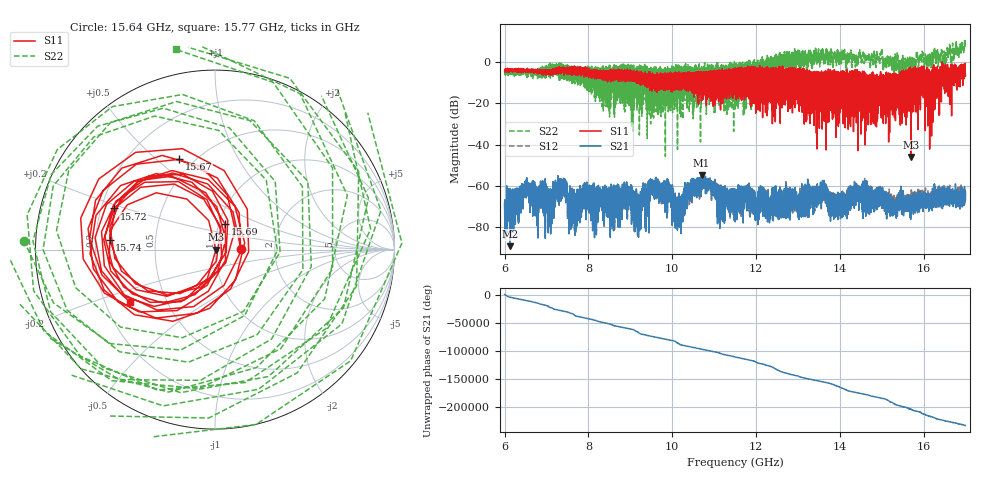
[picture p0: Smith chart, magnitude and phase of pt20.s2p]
#  HZ  S  RI  R  50.00
! Rohde & Schwarz Vector Network Analyzer
! Rohde-Schwarz,ZNA67-2Port,1332450062101215,3.01
! Created: UTC 10/26/2026, 5:49:48 PM
! freq[Hz]  re:S11  im:S11  re:S21  im:S21  re:S12  im:S12  re:S22  im:S22
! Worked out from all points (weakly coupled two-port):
!   11001 points, 6 GHz to 17 GHz, reference 50 ohm
!   highest |S21| = -54.59 dB at 10.7 GHz (marker M1); lowest = -89.1 dB at 6.127 GHz (marker M2)
!   lowest |S11| = -45.8 dB at 15.7 GHz (marker M3), VSWR 1.01, Z = 50.5 - j0.124 ohm
!   |S11| at or under -10 dB: 14.68672 GHz to 14.69204 GHz (5.317 MHz wide, 0.0362 % of centre); 14.69865 GHz to 14.70412 GHz (5.471 MHz wide, 0.0372 % of centre); 14.91986 GHz to 14.92668 GHz (6.825 MHz wide, 0.0457 % of centre) (the widest 3 of 647)
!   |S22| runs from -45.6 to 10.5 dB; largest |S21 - S12| = 0.0011
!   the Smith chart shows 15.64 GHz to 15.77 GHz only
!   S11 on the Smith chart (normalised r, x): 15.64 GHz: 1.34, +0.01; 15.67 GHz: 0.42, +0.59; 15.69 GHz: 1.07, +0.31; 15.72 GHz: 0.25, +0.18; 15.74 GHz: 0.26, +0.04; 15.77 GHz: 0.30, -0.26
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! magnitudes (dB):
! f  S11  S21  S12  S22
! 6 GHz  -4.4  -68.2  -68.4  -4.7
! 6.127 GHz  -4.2  -89.1  -85.8  -5.2
! 6.524 GHz  -4.3  -61.8  -61.9  -3.8
! 7.066 GHz  -3.9  -66.3  -65.6  -4.7
! 7.28 GHz  -4.0  -57.2  -57.4  -5.2
! 7.834 GHz  -4.2  -63.7  -63.0  -3.0
! 8.86 GHz  -6.1  -60.9  -60.8  -2.7
! 9.205 GHz  -7.7  -74.9  -73.7  -19.3
! 9.667 GHz  -6.8  -60.2  -60.1  -4.6
! 10.16 GHz  -12.8  -68.9  -69.7  -6.1
! 10.7 GHz  -10.0  -54.6  -54.8  -3.7
! 11.5 GHz  -3.0  -64.6  -64.6  -2.3
! 13.33 GHz  -6.6  -63.4  -62.9  0.1
! 15.17 GHz  -16.9  -68.9  -65.0  1.2
! 15.64 GHz  -16.8  -68.7  -70.9  0.6
! 15.67 GHz  -5.3  -70.1  -66.1  -2.4
! 15.69 GHz  -16.3  -73.3  -68.2  0.4
! 15.7 GHz  -45.8  -69.7  -66.9  -1.9
! 15.72 GHz  -4.4  -71.2  -67.3  -0.9
! 15.74 GHz  -4.6  -67.9  -67.8  1.0
! 15.77 GHz  -5.1  -69.8  -67.8  1.1
! 17 GHz  -6.5  -62.7  -65.3  8.0
